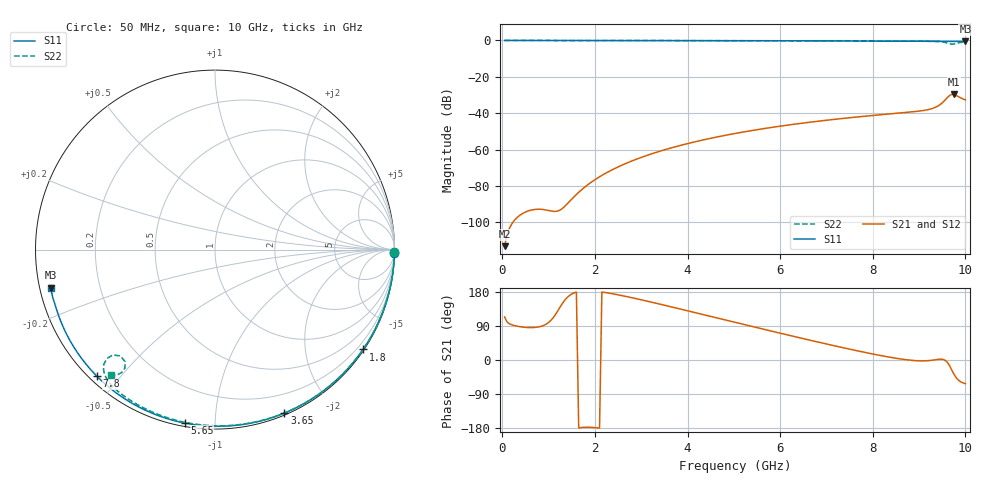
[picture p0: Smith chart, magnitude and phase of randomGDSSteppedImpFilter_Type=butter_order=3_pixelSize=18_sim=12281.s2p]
! freq	dB(S11)	phase(S11)	dB(S12)	phase(S12)
!  dB(S21)	phase(S21)	dB(S22)	phase(S22)
!S-par simulation data
#  GHz  S  DB  R 50
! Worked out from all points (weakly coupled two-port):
!   200 points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, 50 MHz to 10 GHz, reference 50 ohm
!   highest |S21| = -29.65 dB at 9.75 GHz (marker M1); lowest = -113.0 dB at 50 MHz (marker M2)
!   lowest |S11| = -0.5 dB at 10 GHz (marker M3), VSWR 31.93, Z = 1.59 - j5.71 ohm
!   |S11| at or under -10 dB: nowhere
!   |S22| runs from -2.0 to 0.0 dB; largest |S21 - S12| = 0
!   S11 on the Smith chart (normalised r, x): 50 MHz: open; 1.8 GHz: 0.03, -3.27; 3.65 GHz: 0.02, -1.51; 5.65 GHz: 0.02, -0.84; 7.8 GHz: 0.02, -0.43; 10 GHz: 0.03, -0.11
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0.05  -0.00 -1.0  -113.02 113.7  -113.02 113.7  -0.00 -0.8
0.85  -0.02 -16.2  -92.79 89.3  -92.79 89.3  -0.02 -13.1
1.75  -0.04 -33.1  -81.21 -177.7  -81.21 -177.7  -0.03 -26.6
1.8  -0.04 -34.0  -80.18 -177.4  -80.18 -177.4  -0.03 -27.4
2.15  -0.05 -40.4  -74.13 179.4  -74.13 179.4  -0.04 -32.6
2.5  -0.06 -46.8  -69.48 172.0  -69.48 172.0  -0.05 -37.7
2.9  -0.07 -53.9  -65.19 161.6  -65.19 161.6  -0.06 -43.6
3.4  -0.08 -62.7  -60.86 147.5  -60.86 147.5  -0.07 -50.7
3.65  -0.09 -67.0  -59.00 140.2  -59.00 140.2  -0.07 -54.3
4.3  -0.11 -78.0  -54.86 121.0  -54.86 121.0  -0.09 -63.3
5.05  -0.14 -90.3  -50.99 98.7  -50.99 98.7  -0.11 -73.5
5.65  -0.17 -99.9  -48.42 81.0  -48.42 81.0  -0.13 -81.4
6.7  -0.23 -116.2  -44.72 50.6  -44.72 50.6  -0.18 -94.8
7.8  -0.31 -133.0  -41.69 20.8  -41.69 20.8  -0.25 -108.5
8.35  -0.36 -141.3  -40.40 7.7  -40.40 7.7  -0.29 -115.3
9.25  -0.47 -155.1  -37.65 -1.1  -37.65 -1.1  -0.46 -127.8
9.4  -0.49 -157.4  -36.14 1.5  -36.14 1.5  -0.59 -130.8
9.55  -0.51 -159.7  -33.05 0.1  -33.05 0.1  -1.03 -134.1
9.65  -0.51 -161.3  -30.41 -13.1  -30.41 -13.1  -1.75 -134.1
9.75  -0.51 -162.9  -29.65 -36.9  -29.65 -36.9  -1.93 -128.7
9.85  -0.52 -164.5  -30.88 -53.2  -30.88 -53.2  -1.32 -127.2
10  -0.54 -167.0  -32.63 -62.5  -32.63 -62.5  -0.85 -129.7
